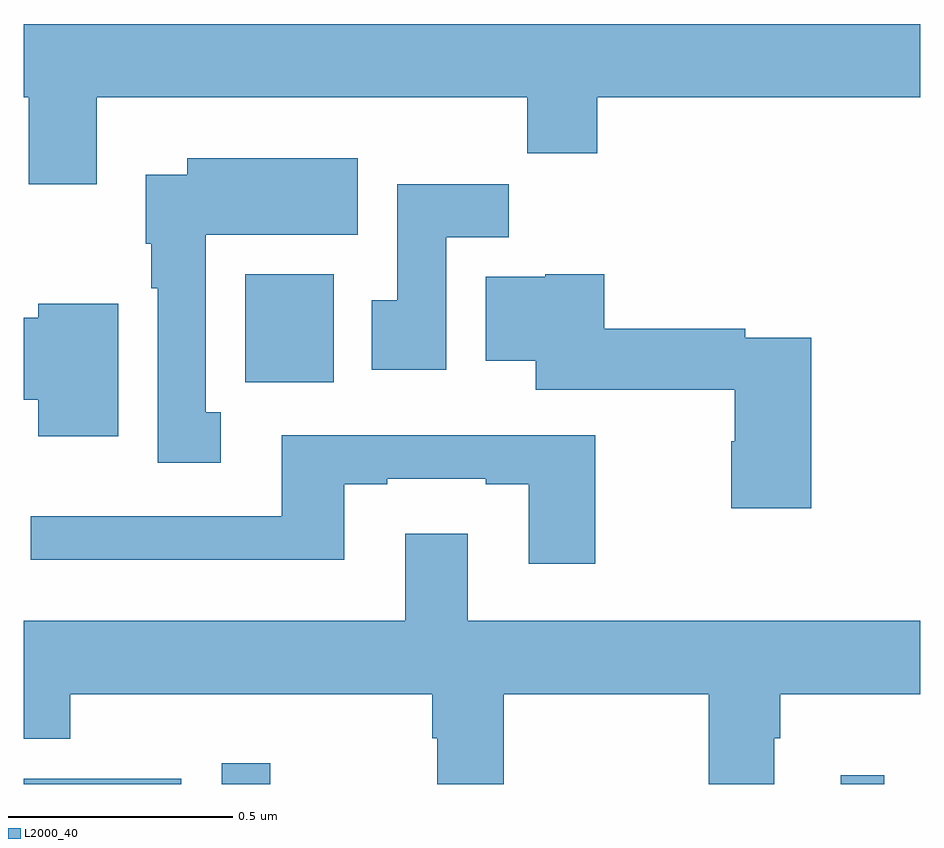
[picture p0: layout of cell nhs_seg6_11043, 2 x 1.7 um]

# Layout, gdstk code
import gdstk
lib = gdstk.Library(unit=1e-6, precision=1e-09)
def R(c, l, rs):  # rectangles x0, y0, x1, y1
    for r in rs: c.add(gdstk.rectangle(r[:2], r[2:], *l))
def P(c, l, *ps):  # polygons
    for p in ps: c.add(gdstk.Polygon(p, *l))
L2000_40 = (2000, 40)

nhs_seg6_11043 = lib.new_cell('nhs_seg6_11043')
R(nhs_seg6_11043, L2000_40, [(255,916.5,255.351,916.512), (255.441,916.5,255.55,916.546), (256.823,916.5,256.92,916.519), (255.494,917.396,255.691,917.638)])
P(nhs_seg6_11043, L2000_40, [(255.163,918.032),(256.123,918.032),(256.123,917.908),(256.279,917.908),(256.279,918.032),(257,918.032),(257,918.196),(255,918.196),(255,918.032),(255.011,918.032),(255.011,917.838),(255.163,917.838)],
  [(255.439,917.33),(255.406,917.33),(255.406,917.726),(255.745,917.726),(255.745,917.896),(255.365,917.896),(255.365,917.86),(255.272,917.86),(255.272,917.706),(255.284,917.706),(255.284,917.606),(255.299,917.606),(255.299,917.217),(255.439,917.217)],
  [(255.943,917.72),(256.082,917.72),(256.082,917.838),(255.833,917.838),(255.833,917.58),(255.776,917.58),(255.776,917.424),(255.943,917.424)],
  [(256.757,917.496),(256.61,917.496),(256.61,917.516),(256.295,917.516),(256.295,917.638),(256.164,917.638),(256.164,917.632),(256.031,917.632),(256.031,917.444),(256.142,917.444),(256.142,917.38),(256.586,917.38),(256.586,917.265),(256.579,917.265),(256.579,917.115),(256.757,917.115)],
  [(255.211,917.572),(255.032,917.572),(255.032,917.54),(255,917.54),(255,917.357),(255.032,917.357),(255.032,917.276),(255.211,917.276)],
  [(256.275,917.278),(255.575,917.278),(255.575,917.097),(255.015,917.097),(255.015,917),(255.715,917),(255.715,917.169),(255.811,917.169),(255.811,917.181),(256.031,917.181),(256.031,917.169),(256.127,917.169),(256.127,916.992),(256.275,916.992)],
  [(256.071,916.7),(256.528,916.7),(256.528,916.5),(256.675,916.5),(256.675,916.602),(256.688,916.602),(256.688,916.7),(257,916.7),(257,916.864),(255.991,916.864),(255.991,917.059),(255.851,917.059),(255.851,916.864),(255,916.864),(255,916.601),(255.104,916.601),(255.104,916.7),(255.911,916.7),(255.911,916.602),(255.923,916.602),(255.923,916.5),(256.071,916.5)])

lib.write_gds('nhs_seg6_11043.gds')
